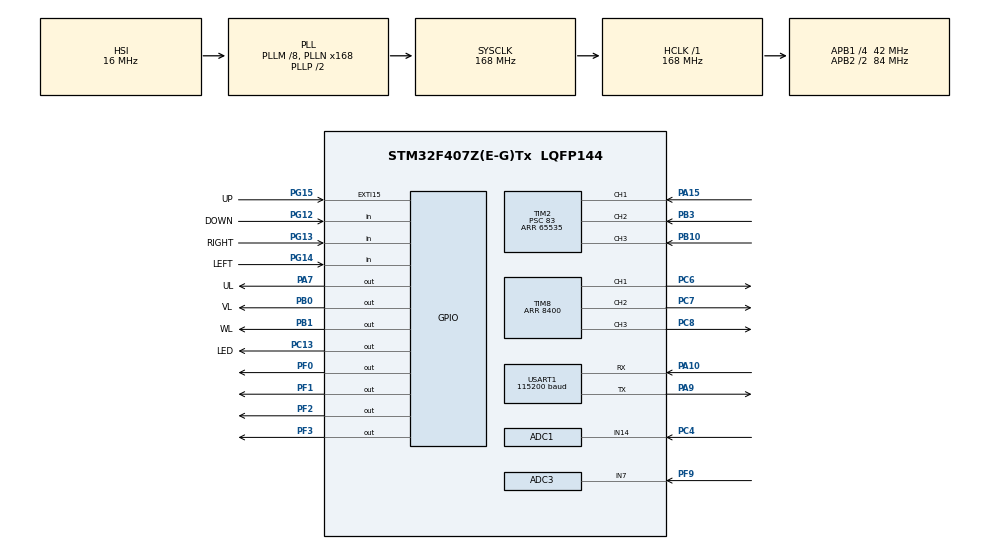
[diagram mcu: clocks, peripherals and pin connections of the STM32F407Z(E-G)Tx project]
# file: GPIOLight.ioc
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ADC1.Channel-0\#ChannelRegularConversion=ADC_CHANNEL_14
ADC1.ContinuousConvMode=ENABLE
ADC1.NbrOfConversionFlag=1
ADC1.Rank-0\#ChannelRegularConversion=1
ADC1.SamplingTime-0\#ChannelRegularConversion=ADC_SAMPLETIME_3CYCLES
ADC1.master=1
ADC3.Channel-0\#ChannelRegularConversion=ADC_CHANNEL_7
ADC3.NbrOfConversionFlag=1
ADC3.Rank-0\#ChannelRegularConversion=1
ADC3.SamplingTime-0\#ChannelRegularConversion=ADC_SAMPLETIME_3CYCLES
Dma.ADC1.3.Direction=DMA_PERIPH_TO_MEMORY
Dma.ADC1.3.FIFOMode=DMA_FIFOMODE_DISABLE
Dma.ADC1.3.Instance=DMA2_Stream4
Dma.ADC1.3.MemDataAlignment=DMA_MDATAALIGN_HALFWORD
Dma.ADC1.3.MemInc=DMA_MINC_ENABLE
Dma.ADC1.3.Mode=DMA_CIRCULAR
Dma.ADC1.3.PeriphDataAlignment=DMA_PDATAALIGN_HALFWORD
Dma.ADC1.3.PeriphInc=DMA_PINC_DISABLE
Dma.ADC1.3.Priority=DMA_PRIORITY_HIGH
Dma.ADC3.2.Direction=DMA_PERIPH_TO_MEMORY
Dma.ADC3.2.FIFOMode=DMA_FIFOMODE_DISABLE
Dma.ADC3.2.Instance=DMA2_Stream1
Dma.ADC3.2.MemDataAlignment=DMA_MDATAALIGN_HALFWORD
Dma.ADC3.2.MemInc=DMA_MINC_ENABLE
Dma.ADC3.2.Mode=DMA_CIRCULAR
Dma.ADC3.2.PeriphDataAlignment=DMA_PDATAALIGN_HALFWORD
Dma.ADC3.2.PeriphInc=DMA_PINC_DISABLE
Dma.ADC3.2.Priority=DMA_PRIORITY_HIGH
Dma.MEMTOMEM.0.Direction=DMA_MEMORY_TO_MEMORY
Dma.MEMTOMEM.0.FIFOMode=DMA_FIFOMODE_ENABLE
Dma.MEMTOMEM.0.FIFOThreshold=DMA_FIFO_THRESHOLD_FULL
Dma.MEMTOMEM.0.Instance=DMA2_Stream0
Dma.MEMTOMEM.0.MemBurst=DMA_MBURST_SINGLE
Dma.MEMTOMEM.0.MemDataAlignment=DMA_MDATAALIGN_WORD
Dma.MEMTOMEM.0.MemInc=DMA_MINC_ENABLE
Dma.MEMTOMEM.0.Mode=DMA_NORMAL
Dma.MEMTOMEM.0.PeriphBurst=DMA_PBURST_SINGLE
Dma.MEMTOMEM.0.PeriphDataAlignment=DMA_PDATAALIGN_WORD
Dma.MEMTOMEM.0.PeriphInc=DMA_PINC_ENABLE
Dma.MEMTOMEM.0.Priority=DMA_PRIORITY_HIGH
Dma.Request0=MEMTOMEM
Dma.Request1=USART1_TX
Dma.Request2=ADC3
Dma.Request3=ADC1
Dma.USART1_TX.1.Direction=DMA_MEMORY_TO_PERIPH
Dma.USART1_TX.1.FIFOMode=DMA_FIFOMODE_DISABLE
Dma.USART1_TX.1.Instance=DMA2_Stream7
Dma.USART1_TX.1.MemDataAlignment=DMA_MDATAALIGN_WORD
Dma.USART1_TX.1.MemInc=DMA_MINC_ENABLE
Dma.USART1_TX.1.Mode=DMA_CIRCULAR
Dma.USART1_TX.1.PeriphDataAlignment=DMA_PDATAALIGN_WORD
Dma.USART1_TX.1.PeriphInc=DMA_PINC_DISABLE
Dma.USART1_TX.1.Priority=DMA_PRIORITY_LOW
Mcu.Family=STM32F4
Mcu.Name=STM32F407Z(E-G)Tx
Mcu.Package=LQFP144
NVIC.DMA2_Stream1_IRQn=true\:0\:0\:false\:false\:true\:false\:true\:true
NVIC.DMA2_Stream4_IRQn=true\:0\:0\:false\:false\:true\:false\:true\:true
NVIC.DMA2_Stream7_IRQn=true\:0\:0\:false\:false\:true\:false\:true\:true
NVIC.EXTI15_10_IRQn=true\:0\:0\:false\:false\:true\:true\:true\:true
NVIC.PriorityGroup=NVIC_PRIORITYGROUP_4
NVIC.TIM1_UP_TIM10_IRQn=true\:0\:0\:false\:false\:true\:true\:true\:true
NVIC.TIM2_IRQn=true\:0\:0\:false\:false\:true\:true\:true\:true
NVIC.TIM8_BRK_TIM12_IRQn=true\:0\:0\:false\:false\:true\:true\:true\:true
NVIC.USART1_IRQn=true\:0\:0\:false\:false\:true\:true\:true\:true
PA10.Mode=Asynchronous
PA10.Signal=USART1_RX
PA15.GPIO_Speed=GPIO_SPEED_FREQ_HIGH
PA15.Signal=S_TIM2_CH1_ETR
PA7.GPIO_Label=UL
PA7.GPIO_PuPd=GPIO_PULLUP
PA7.Signal=GPIO_Output
PA9.Mode=Asynchronous
PA9.Signal=USART1_TX
PB0.GPIO_Label=VL
PB0.GPIO_PuPd=GPIO_PULLUP
PB0.Signal=GPIO_Output
PB1.GPIO_Label=WL
PB1.GPIO_PuPd=GPIO_PULLUP
PB1.Signal=GPIO_Output
PB10.GPIO_Speed=GPIO_SPEED_FREQ_HIGH
PB10.Signal=S_TIM2_CH3
PB3.GPIO_Speed=GPIO_SPEED_FREQ_HIGH
PB3.Signal=S_TIM2_CH2
PC13-ANTI_TAMP.GPIO_Label=LED
PC13-ANTI_TAMP.PinState=GPIO_PIN_SET
PC13-ANTI_TAMP.Signal=GPIO_Output
PC4.Signal=ADCx_IN14
PC6.GPIO_Speed=GPIO_SPEED_FREQ_VERY_HIGH
PC6.Signal=S_TIM8_CH1
PC7.GPIO_Speed=GPIO_SPEED_FREQ_VERY_HIGH
PC7.Signal=S_TIM8_CH2
PC8.GPIO_Speed=GPIO_SPEED_FREQ_VERY_HIGH
PC8.Signal=S_TIM8_CH3
PF0.PinState=GPIO_PIN_SET
PF0.Signal=GPIO_Output
PF1.PinState=GPIO_PIN_SET
PF1.Signal=GPIO_Output
PF2.PinState=GPIO_PIN_SET
PF2.Signal=GPIO_Output
PF3.PinState=GPIO_PIN_SET
PF3.Signal=GPIO_Output
PF9.Mode=IN7
PF9.Signal=ADC3_IN7
PG12.GPIO_Label=DOWN
PG12.Signal=GPIO_Input
PG13.GPIO_Label=RIGHT
PG13.Signal=GPIO_Input
PG14.GPIO_Label=LEFT
PG14.Signal=GPIO_Input
PG15.GPIO_Label=UP
PG15.GPIO_ModeDefaultEXTI=GPIO_MODE_IT_FALLING
PG15.GPIO_PuPd=GPIO_PULLUP
PG15.Signal=GPXTI15
PH0-OSC_IN.Mode=HSE-External-Oscillator
PH0-OSC_IN.Signal=RCC_OSC_IN
PH1-OSC_OUT.Mode=HSE-External-Oscillator
PH1-OSC_OUT.Signal=RCC_OSC_OUT
ProjectManager.HeapSize=0x200
ProjectManager.StackSize=0x400
ProjectManager.TargetToolchain=MDK-ARM V5.32
RCC.48MHZClocksFreq_Value=84000000
RCC.AHBFreq_Value=168000000
RCC.APB1CLKDivider=RCC_HCLK_DIV4
RCC.APB1Freq_Value=42000000
RCC.APB1TimFreq_Value=84000000
RCC.APB2CLKDivider=RCC_HCLK_DIV2
RCC.APB2Freq_Value=84000000
RCC.APB2TimFreq_Value=168000000
RCC.CortexFreq_Value=168000000
RCC.HCLKFreq_Value=168000000
RCC.HSE_VALUE=25000000
RCC.HSI_VALUE=16000000
RCC.LSE_VALUE=32768
RCC.PLLM=8
RCC.PLLN=168
RCC.SYSCLKFreq_VALUE=168000000
RCC.SYSCLKSource=RCC_SYSCLKSOURCE_PLLCLK
RCC.VCOOutputFreq_Value=336000000
SH.ADCx_IN14.0=ADC1_IN14,IN14
SH.S_TIM2_CH1_ETR.0=TIM2_CH1,Input_Capture1_from_TI1
SH.S_TIM2_CH2.0=TIM2_CH2,Input_Capture2_from_TI2
SH.S_TIM2_CH3.0=TIM2_CH3,Input_Capture3_from_TI3
SH.S_TIM8_CH1.0=TIM8_CH1,PWM Generation1 CH1
SH.S_TIM8_CH2.0=TIM8_CH2,PWM Generation2 CH2
SH.S_TIM8_CH3.0=TIM8_CH3,PWM Generation3 CH3
TIM1.AutoReloadPreload=TIM_AUTORELOAD_PRELOAD_ENABLE
TIM1.Period=1000-1
TIM1.Prescaler=168-1
TIM2.AutoReloadPreload=TIM_AUTORELOAD_PRELOAD_ENABLE
TIM2.Channel-Input_Capture1_from_TI1=TIM_CHANNEL_1
TIM2.Channel-Input_Capture2_from_TI2=TIM_CHANNEL_2
TIM2.Channel-Input_Capture3_from_TI3=TIM_CHANNEL_3
TIM2.ICFilter_CH1=8
TIM2.ICFilter_CH2=8
TIM2.ICFilter_CH3=8
TIM2.ICPolarity_CH1=TIM_INPUTCHANNELPOLARITY_BOTHEDGE
TIM2.ICPolarity_CH2=TIM_INPUTCHANNELPOLARITY_BOTHEDGE
TIM2.ICPolarity_CH3=TIM_INPUTCHANNELPOLARITY_BOTHEDGE
TIM2.Period=65535
TIM2.Prescaler=83
TIM2.TIM_MasterOutputTrigger=TIM_TRGO_UPDATE
TIM8.AutoReloadPreload=TIM_AUTORELOAD_PRELOAD_DISABLE
TIM8.Channel-PWM\ Generation1\ CH1=TIM_CHANNEL_1
TIM8.Channel-PWM\ Generation2\ CH2=TIM_CHANNEL_2
TIM8.Channel-PWM\ Generation3\ CH3=TIM_CHANNEL_3
TIM8.OffStateIDLEMode=TIM_OSSI_ENABLE
TIM8.OffStateRunMode=TIM_OSSR_ENABLE
TIM8.Period=8400
USART1.BaudRate=115200
USART1.VirtualMode=VM_ASYNC
VP_TIM1_VS_ClockSourceINT.Mode=Internal
VP_TIM2_VS_ClockSourceINT.Mode=Internal
VP_TIM8_VS_ClockSourceINT.Mode=Internal
board=custom

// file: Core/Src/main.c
/* USER CODE BEGIN Header */
/**
  ******************************************************************************
  * @file           : main.c
  * @brief          : Main program body
  ******************************************************************************
  * @attention
  *
  * Copyright (c) 2025 STMicroelectronics.
  * All rights reserved.
  *
  * This software is licensed under terms that can be found in the LICENSE file
  * in the root directory of this software component.
  * If no LICENSE file comes with this software, it is provided AS-IS.
  *
  ******************************************************************************
  */
/* USER CODE END Header */
#include "main.h"
#include "adc.h"
#include "dma.h"
#include "tim.h"
#include "usart.h"
#include "gpio.h"

/* USER CODE BEGIN Includes */
#include "stm32_2.8_lcd.h"
#include "wtr_calculate.h"
/* USER CODE END Includes */

/* USER CODE BEGIN PTD */
#define PhaseA 1
#define PhaseB 2
#define PhaseC 3
/* USER CODE END PTD */

void SystemClock_Config(void);

/* USER CODE BEGIN 0 */
uint8_t hall_a;
uint8_t hall_b;
uint8_t hall_c;
uint16_t Pwm_A;
uint16_t Pwm_B;
uint16_t Pwm_C;
uint16_t hall_cnt;
PID_t BLDC_pid;

float velocity;
void PhaseDetect(void)
{
	if(HAL_GPIO_ReadPin(GPIOB,GPIO_PIN_10)==GPIO_PIN_SET)
	{
		hall_c=1;
	}else{
		hall_c=0;
	}

	if(HAL_GPIO_ReadPin(GPIOB,GPIO_PIN_3)==GPIO_PIN_SET)
	{
		hall_b=1;
	}else{
		hall_b=0;
	}

	if(HAL_GPIO_ReadPin(GPIOA,GPIO_PIN_15)==GPIO_PIN_SET)
	{
		hall_a=1;
	}else{
		hall_a=0;
	}
}

void SetChannel(uint8_t phase,uint8_t status)
{
	if (phase==PhaseA)
	{
		if (status==1)
		{
			HAL_TIM_PWM_Start(&htim8,TIM_CHANNEL_1);
			__HAL_TIM_SetCompare(&htim8,TIM_CHANNEL_1,Pwm_A);
		}
		else
		{
			HAL_TIM_PWM_Stop(&htim8,TIM_CHANNEL_1);
		}
	}

	if (phase==PhaseB)
	{
		if (status==1)
		{
			HAL_TIM_PWM_Start(&htim8,TIM_CHANNEL_2);
			__HAL_TIM_SetCompare(&htim8,TIM_CHANNEL_2,Pwm_B);
		}
		else
		{
			HAL_TIM_PWM_Stop(&htim8,TIM_CHANNEL_2);
		}
	}

	if (phase==PhaseC)
	{
		if (status==1)
		{
			HAL_TIM_PWM_Start(&htim8,TIM_CHANNEL_3);
			__HAL_TIM_SetCompare(&htim8,TIM_CHANNEL_3,Pwm_C);
		}
		else
		{
			HAL_TIM_PWM_Stop(&htim8,TIM_CHANNEL_3);
		}
	}
}

void SetGPIO(uint8_t phase,GPIO_PinState status)
{
	if(phase==PhaseA)
	{
		HAL_GPIO_WritePin(UL_GPIO_Port,UL_Pin,status);
	}
	if(phase==PhaseB)
	{
		HAL_GPIO_WritePin(VL_GPIO_Port,VL_Pin,status);
	}
	if(phase==PhaseC)
	{
		HAL_GPIO_WritePin(WL_GPIO_Port,WL_Pin,status);
	}
}

void Motor_Rotation_CW(void)
{
	if(hall_a==1&&hall_b==0&&hall_c==1)
	{
		SetChannel(PhaseA,1);
		SetChannel(PhaseB,0);
		SetChannel(PhaseC,0);
		SetGPIO(PhaseA,0);
		SetGPIO(PhaseB,1);
		SetGPIO(PhaseC,0);
	}
	if(hall_a==1&&hall_b==0&&hall_c==0)
	{
		SetChannel(PhaseA,1);
		SetChannel(PhaseB,0);
		SetChannel(PhaseC,0);
		SetGPIO(PhaseA,0);
		SetGPIO(PhaseB,0);
		SetGPIO(PhaseC,1);
	}
	if(hall_a==1&&hall_b==1&&hall_c==0)
	{
		SetChannel(PhaseA,0);
		SetChannel(PhaseB,1);
		SetChannel(PhaseC,0);
		SetGPIO(PhaseA,0);
		SetGPIO(PhaseB,0);
		SetGPIO(PhaseC,1);
	}
	if(hall_a==0&&hall_b==1&&hall_c==0)
	{
		SetChannel(PhaseA,0);
		SetChannel(PhaseB,1);
		SetChannel(PhaseC,0);
		SetGPIO(PhaseA,1);
		SetGPIO(PhaseB,0);
		SetGPIO(PhaseC,0);
	}
	if(hall_a==0&&hall_b==1&&hall_c==1)
	{
		SetChannel(PhaseA,0);
		SetChannel(PhaseB,0);
		SetChannel(PhaseC,1);
		SetGPIO(PhaseA,1);
		SetGPIO(PhaseB,0);
		SetGPIO(PhaseC,0);
	}
	if(hall_a==0&&hall_b==0&&hall_c==1)
	{
		SetChannel(PhaseA,0);
		SetChannel(PhaseB,0);
		SetChannel(PhaseC,1);
		SetGPIO(PhaseA,0);
		SetGPIO(PhaseB,1);
		SetGPIO(PhaseC,0);
	}
}
/* USER CODE END 0 */

int main(void)
{

  /* MCU Configuration--------------------------------------------------------*/

  /* Reset of all peripherals, Initializes the Flash interface and the Systick. */
  HAL_Init();

  /* Configure the system clock */
  SystemClock_Config();

  /* Initialize all configured peripherals */
  MX_GPIO_Init();
  MX_DMA_Init();
  MX_USART1_UART_Init();
  MX_TIM1_Init();
  MX_TIM2_Init();
  MX_ADC1_Init();
  MX_ADC3_Init();
  MX_TIM8_Init();
  /* USER CODE BEGIN 2 */
	STM32_LCD_Init();
	LCD_Clear(BackColor);

	uint16_t ADC_Value=0;

	HAL_TIM_Base_Start_IT(&htim1);
	HAL_TIM_Base_Start_IT(&htim2);
	HAL_TIM_Base_Start(&htim8);
	Pwm_A=4000;
	Pwm_B=4000;
	Pwm_C=4000;
	HAL_TIM_IC_Start_IT(&htim2,TIM_CHANNEL_1);
	HAL_TIM_IC_Start_IT(&htim2,TIM_CHANNEL_2);
	HAL_TIM_IC_Start_IT(&htim2,TIM_CHANNEL_3);

	PhaseDetect();
	Motor_Rotation_CW();
	HAL_Delay(7);
	PhaseDetect();
	Motor_Rotation_CW();

	pid_init(&BLDC_pid,1,0,0,4000,0,2000);

  /* USER CODE END 2 */

  /* Infinite loop */
  /* USER CODE BEGIN WHILE */
  while (1)
  {
		//HAL_TIM_PWM_Start(&htim8,TIM_CHANNEL_1);
			//__HAL_TIM_SetCompare(&htim8,TIM_CHANNEL_1,Pwm_A);

    /* USER CODE END WHILE */

    /* USER CODE BEGIN 3 */
		HAL_ADC_Start(&hadc1);
		HAL_ADC_PollForConversion(&hadc1,50);
		if(HAL_IS_BIT_SET(HAL_ADC_GetState(&hadc1),HAL_ADC_STATE_REG_EOC))
		{
			ADC_Value=HAL_ADC_GetValue(&hadc1);
			LCD_DisplayStringLine(Line0,"AD test:");
			LCD_Draw_NUM(70,300,ADC_Value);

		}
		//Pwm_A=ADC_Value*2;
		//Pwm_B=ADC_Value*2;
		//Pwm_C=ADC_Value*2;
		HAL_Delay(100);
		LCD_Draw_NUM(100,300,hall_a);
		LCD_Draw_NUM(100,400,hall_b);
		LCD_Draw_NUM(100,500,hall_c);
		LCD_Draw_NUM(130,300,velocity);
		LCD_Draw_NUM(160,300,Pwm_A);
  }
  /* USER CODE END 3 */
}

void SystemClock_Config(void)
{
  RCC_OscInitTypeDef RCC_OscInitStruct = {0};
  RCC_ClkInitTypeDef RCC_ClkInitStruct = {0};

  /** Configure the main internal regulator output voltage
  */
  __HAL_RCC_PWR_CLK_ENABLE();
  __HAL_PWR_VOLTAGESCALING_CONFIG(PWR_REGULATOR_VOLTAGE_SCALE1);

  /** Initializes the RCC Oscillators according to the specified parameters
  * in the RCC_OscInitTypeDef structure.
  */
  RCC_OscInitStruct.OscillatorType = RCC_OSCILLATORTYPE_HSI;
  RCC_OscInitStruct.HSIState = RCC_HSI_ON;
  RCC_OscInitStruct.HSICalibrationValue = RCC_HSICALIBRATION_DEFAULT;
  RCC_OscInitStruct.PLL.PLLState = RCC_PLL_ON;
  RCC_OscInitStruct.PLL.PLLSource = RCC_PLLSOURCE_HSI;
  RCC_OscInitStruct.PLL.PLLM = 8;
  RCC_OscInitStruct.PLL.PLLN = 168;
  RCC_OscInitStruct.PLL.PLLP = RCC_PLLP_DIV2;
  RCC_OscInitStruct.PLL.PLLQ = 4;
  if (HAL_RCC_OscConfig(&RCC_OscInitStruct) != HAL_OK)
  {
    Error_Handler();
  }

  /** Initializes the CPU, AHB and APB buses clocks
  */
  RCC_ClkInitStruct.ClockType = RCC_CLOCKTYPE_HCLK|RCC_CLOCKTYPE_SYSCLK
                              |RCC_CLOCKTYPE_PCLK1|RCC_CLOCKTYPE_PCLK2;
  RCC_ClkInitStruct.SYSCLKSource = RCC_SYSCLKSOURCE_PLLCLK;
  RCC_ClkInitStruct.AHBCLKDivider = RCC_SYSCLK_DIV1;
  RCC_ClkInitStruct.APB1CLKDivider = RCC_HCLK_DIV4;
  RCC_ClkInitStruct.APB2CLKDivider = RCC_HCLK_DIV2;

  if (HAL_RCC_ClockConfig(&RCC_ClkInitStruct, FLASH_LATENCY_5) != HAL_OK)
  {
    Error_Handler();
  }
}

/* USER CODE BEGIN 4 */
//void HAL_UART_RxCpltCallback(UART_HandleTypeDef *UartHandle)
//{
//	HAL_UART_Transmit(&huart1,aRxBuffer,1,0);
//	HAL_UART_Receive_IT(&huart1,aRxBuffer,1);
//}

void HAL_TIM_IC_CaptureCallback(TIM_HandleTypeDef *htim)
{
	PhaseDetect();
	Motor_Rotation_CW();
	hall_cnt++;
}

void HAL_TIM_PeriodElapsedCallback(TIM_HandleTypeDef *htim)
{
	if(htim->Instance==TIM1)
	{
		velocity=hall_cnt/3/4*60*1000;//rpmֵ
		BLDC_pid.ref=ADC_Value;
		BLDC_pid.fdb=velocity;
		PID_Calc_P(&BLDC_pid);
		Pwm_A=BLDC_pid.output;
		Pwm_B=BLDC_pid.output;
		Pwm_C=BLDC_pid.output;

		hall_cnt=0;
	}

}

/* USER CODE END 4 */

void Error_Handler(void)
{
  __disable_irq();
  while (1)
  {
  }
}
